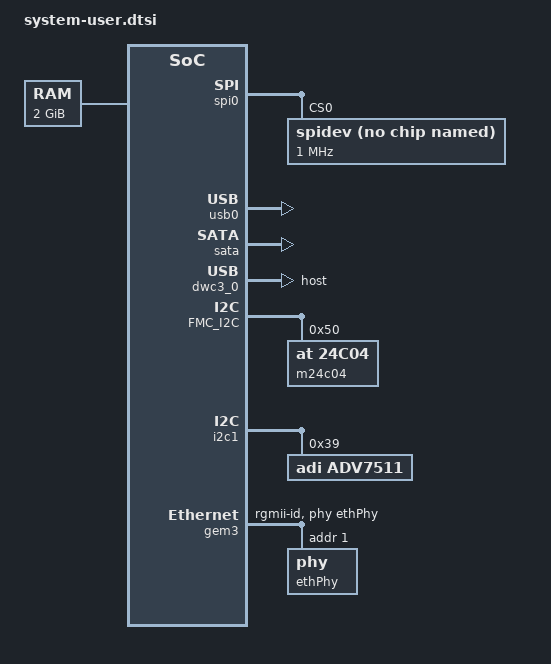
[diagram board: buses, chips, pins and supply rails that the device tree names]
/include/ "system-conf.dtsi"
/ {
chosen{
 bootargs = "earlycon clk_ignore_unused console=ttyPS0,115200 earlyprintk root=/dev/mmcblk1p2 rw rootwait uio_pdrv_genirq.of_id=generic-uio";
// If booting from the filesystem on SATA drive change root= in bootargs, ie root=/dev/sda1
 };

 memory {    // Reduce memory for framebuffers
        device_type = "memory";
        //reg = <0x0 0x0 0x0 0x3FC00000>;  // Reduce memory for 1GB assembly variant
        reg = <0x0 0x0 0x0 0x7FC00000>;  // Reduce memory for 2GB assembly variant
    };


    //framebuffer0: framebuffer@0x3FC00000 {      // HDMI out for 1GB assembly variant
    framebuffer0: framebuffer@0x7FC00000 {      // HDMI out for 2GB assembly variant
        compatible = "simple-framebuffer";
        //reg = <0x0 0x3FC00000 0x0 (1280 * 720 * 4)>;    // 720p for 1GB assembly variant
        reg = <0x0 0x7FC00000 0x0 (1280 * 720 * 4)>;    // 720p for 2GB assembly variant
        width = <1280>;                         // 720p
        height = <720>;                         // 720p
        stride = <(1280 * 4)>;                  // 720p
        format = "a8b8g8r8";
    };
};

&IOs {
 compatible = "generic-uio";
};

&C_LEDs {
 compatible = "generic-uio";
};

&M_LEDs {
 compatible = "generic-uio";
};

&spi0 {
 is-decoded-cs = <0>;
 num-cs = <1>;
 status = "okay";
 spidev@0x00 {
  compatible = "spidev";
  spi-max-frequency = <1000000>;
  reg = <0>;
 };
};

&usb0 {
  status = "okay";
};

&sata {
  status = "okay";
};

&dwc3_0 {
    status = "okay";
    dr_mode = "host";
};

&sdhci1 {
 disable-wp;
 no-1-8-v;
};

&smmu {
  status ="okay";
};

&FMC_I2C {
  m24c04@50 {
  compatible = "at,24c04"; 
  reg = <0x50>;
 };
};

&fclk0 {
  status = "okay";
};

&fclk1 {
  status = "okay";
};

&i2c1 {
 status = "okay";
 adv7511@39 {
  compatible = "adi,adv7511"; 
  reg = <0x39>;

 adi,input-depth = <8>;
 adi,input-colorspace = "yuv422";
 adi,input-clock = "1x";
 adi,input-style = <1>;
 adi,input-justification = "evenly";

};
};

/* ETH PHY */
&gem0 {
  status = "disabled";
};

&gem1 {
  status = "disabled";
};

&gem2 {
  status = "disabled";
};

&gem3 {
  status = "okay";
  //reg = <0x0 0xff0e0000 0x0 0x1000>;
  //clock-names = "pclk", "hclk", "tx_clk", "rx_clk";
  //clocks = <0x3 0x1f 0x3 0x34 0x3 0x30 0x3 0x34>;
  phy-mode = "rgmii-id";
  phy-handle = <&ethPhy>;
  ethPhy:phy@1{
    reg = <0x1>;
    ti,rx-internal-delay = <0x8>;
    ti,tx-internal-delay = <0xa>;
    ti,fifo-depth = <0x1>;
    ti,rxctrl-strap-worka;
    marvell,reg-init = <3 16 0xff00 0x12 3 17 0xfff0 0x00>;
  };

};

&v_tpg_0 {
 status = "disabled";
};

&axi_vdma_0 {
 status = "disabled";
};

&v_tc_0 {
 status = "disabled";
};
